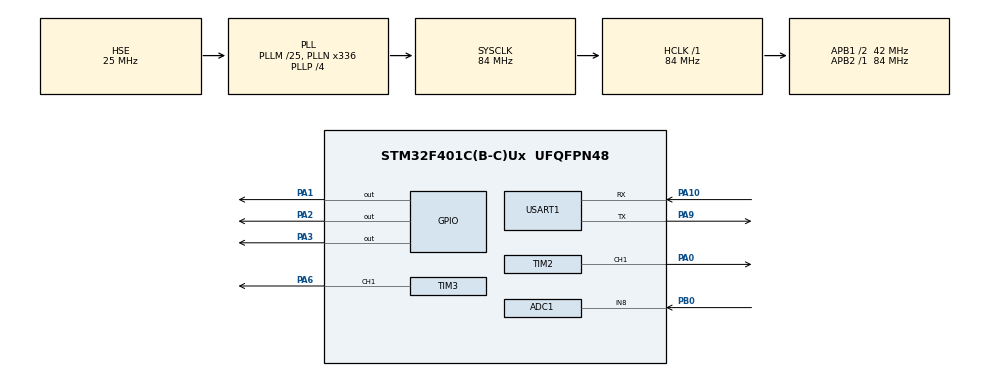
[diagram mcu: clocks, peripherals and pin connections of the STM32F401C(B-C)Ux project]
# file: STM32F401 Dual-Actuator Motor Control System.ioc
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ADC1.Channel-1\#ChannelRegularConversion=ADC_CHANNEL_8
ADC1.InjNumberOfConversion=0
ADC1.NbrOfConversionFlag=1
ADC1.Rank-1\#ChannelRegularConversion=1
ADC1.SamplingTime-1\#ChannelRegularConversion=ADC_SAMPLETIME_84CYCLES
ADC1.master=1
Mcu.Family=STM32F4
Mcu.Name=STM32F401C(B-C)Ux
Mcu.Package=UFQFPN48
NVIC.PriorityGroup=NVIC_PRIORITYGROUP_4
NVIC.USART1_IRQn=true\:0\:0\:false\:false\:true\:true\:true\:true
PA0-WKUP.Signal=S_TIM2_CH1_ETR
PA1.Signal=GPIO_Output
PA10.Mode=Asynchronous
PA10.Signal=USART1_RX
PA2.Signal=GPIO_Output
PA3.Signal=GPIO_Output
PA6.Signal=S_TIM3_CH1
PA9.Mode=Asynchronous
PA9.Signal=USART1_TX
PB0.Signal=ADCx_IN8
PH0\ -\ OSC_IN.Mode=HSE-External-Oscillator
PH0\ -\ OSC_IN.Signal=RCC_OSC_IN
PH1\ -\ OSC_OUT.Mode=HSE-External-Oscillator
PH1\ -\ OSC_OUT.Signal=RCC_OSC_OUT
ProjectManager.HeapSize=0x200
ProjectManager.StackSize=0x400
ProjectManager.TargetToolchain=STM32CubeIDE
RCC.48MHZClocksFreq_Value=84000000
RCC.AHBFreq_Value=84000000
RCC.APB1CLKDivider=RCC_HCLK_DIV2
RCC.APB1Freq_Value=42000000
RCC.APB1TimFreq_Value=84000000
RCC.APB2Freq_Value=84000000
RCC.APB2TimFreq_Value=84000000
RCC.CortexFreq_Value=84000000
RCC.EnbaleCSS=true
RCC.HCLKFreq_Value=84000000
RCC.HSE_VALUE=25000000
RCC.HSI_VALUE=16000000
RCC.LSE_VALUE=32768
RCC.PLLM=25
RCC.PLLN=336
RCC.PLLP=RCC_PLLP_DIV4
RCC.PLLSourceVirtual=RCC_PLLSOURCE_HSE
RCC.SYSCLKFreq_VALUE=84000000
RCC.SYSCLKSource=RCC_SYSCLKSOURCE_PLLCLK
RCC.VCOOutputFreq_Value=336000000
SH.ADCx_IN8.0=ADC1_IN8,IN8
SH.S_TIM2_CH1_ETR.0=TIM2_CH1,PWM Generation1 CH1
SH.S_TIM3_CH1.0=TIM3_CH1,PWM Generation1 CH1
TIM2.AutoReloadPreload=TIM_AUTORELOAD_PRELOAD_ENABLE
TIM2.Channel-PWM\ Generation1\ CH1=TIM_CHANNEL_1
TIM2.ClockDivision=TIM_CLOCKDIVISION_DIV2
TIM2.Period=19999
TIM2.Prescaler=83
TIM2.Pulse-PWM\ Generation1\ CH1=1000
TIM3.AutoReloadPreload=TIM_AUTORELOAD_PRELOAD_ENABLE
TIM3.Channel-PWM\ Generation1\ CH1=TIM_CHANNEL_1
TIM3.ClockDivision=TIM_CLOCKDIVISION_DIV2
TIM3.Period=4199
TIM3.Prescaler=0
TIM3.Pulse-PWM\ Generation1\ CH1=2100
USART1.VirtualMode=VM_ASYNC
VP_TIM2_VS_ClockSourceINT.Mode=Internal
VP_TIM3_VS_ClockSourceINT.Mode=Internal
board=custom

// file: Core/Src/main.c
/* USER CODE BEGIN Header */
/**
  ******************************************************************************
  * @file           : main.c
  * @brief          : Main program body
  ******************************************************************************
  */
/* USER CODE END Header */

#include "main.h"
#include "motor.h"
#include "servo.h"
#include "uart_cmd.h"

/* USER CODE BEGIN PD */

#define MOTOR_BRAKE_TIME_MS    100U

/* USER CODE END PD */

ADC_HandleTypeDef hadc1;

TIM_HandleTypeDef htim2;

TIM_HandleTypeDef htim3;

UART_HandleTypeDef huart1;

/* USER CODE BEGIN PV */

uint32_t adc_value = 0;

uint8_t rx_byte;

MotorState_t motor_state = MOTOR_IDLE;

MotorDirection_t motor_direction = MOTOR_FORWARD;

MotorDirection_t pending_direction = MOTOR_FORWARD;

uint32_t brake_start_time = 0;

/*
 * TRUE  = braking is part of a direction change
 * FALSE = braking was requested as a standalone action
 */
uint8_t direction_change_pending = 0;

/*
 * Shared between UART interrupt and main loop.
 *
 * UART ISR writes the message pointer.
 * Main loop reads and transmits it.
 */
volatile const char *uart_message = NULL;

/* USER CODE END PV */

void SystemClock_Config(void);

static void MX_GPIO_Init(void);
static void MX_ADC1_Init(void);
static void MX_TIM2_Init(void);
static void MX_TIM3_Init(void);
static void MX_USART1_UART_Init(void);

int main(void)
{

  /* MCU Configuration--------------------------------------------------------*/

  HAL_Init();

  /* Configure the system clock */
  SystemClock_Config();

  /* Initialize all configured peripherals */
  MX_GPIO_Init();
  MX_ADC1_Init();
  MX_TIM2_Init();
  MX_TIM3_Init();
  MX_USART1_UART_Init();

  /* USER CODE BEGIN 2 */

  /*--------------------------------------------------------------
   * TIM2 CH1 = SG90 Servo PWM
   *--------------------------------------------------------------*/
  HAL_TIM_PWM_Start(&htim2, TIM_CHANNEL_1);

  /* Start servo at center position */
  Servo_SetPulse(1500);

  /*--------------------------------------------------------------
   * TIM3 CH1 = DC Motor PWM
   *--------------------------------------------------------------*/
  HAL_TIM_PWM_Start(&htim3, TIM_CHANNEL_1);

  /* Start motor PWM at 0% duty cycle */
  __HAL_TIM_SET_COMPARE(
      &htim3,
      TIM_CHANNEL_1,
      0
  );

  /*--------------------------------------------------------------
   * Safe motor startup
   *--------------------------------------------------------------*/
  Motor_Stop();

  /*--------------------------------------------------------------
   * Start UART reception using interrupt
   *--------------------------------------------------------------*/
  HAL_UART_Receive_IT(
      &huart1,
      &rx_byte,
      1
  );

  /* USER CODE END 2 */

  /* Infinite loop */

  /* USER CODE BEGIN WHILE */
  while (1)
  {
      uint32_t ccr_value = 0;

      /*----------------------------------------------------------
       * UART diagnostic message
       *
       * UART interrupt only sets uart_message.
       * The actual blocking transmission happens here,
       * outside the interrupt context.
       *----------------------------------------------------------*/
      if (uart_message != NULL)
      {
          UART_SendString((const char *)uart_message);
          uart_message = NULL;
      }

      /*----------------------------------------------------------
       * Motor state machine
       *----------------------------------------------------------*/
      switch (motor_state)
      {
          /*======================================================
           * IDLE
           *======================================================*/
          case MOTOR_IDLE:

              Motor_Stop();

              __HAL_TIM_SET_COMPARE(
                  &htim3,
                  TIM_CHANNEL_1,
                  0
              );

              break;

          /*======================================================
           * RUNNING
           *======================================================*/
          case MOTOR_RUNNING:

              /*
               * ADC is required only while the motor is running.
               *
               * PB0 -> ADC1_IN8
               *
               * ADC value controls PWM duty cycle.
               */
              if (HAL_ADC_Start(&hadc1) == HAL_OK)
              {
                  if (HAL_ADC_PollForConversion(&hadc1, 10) == HAL_OK)
                  {
                      adc_value = HAL_ADC_GetValue(&hadc1);

                      /*
                       * Convert ADC range:
                       *
                       * 0    -> PWM 0
                       * 4095 -> PWM 4199
                       */
                      ccr_value =
                          ((uint32_t)adc_value * 4199U) / 4095U;

                      /*
                       * Apply motor direction.
                       */
                      if (motor_direction == MOTOR_FORWARD)
                      {
                          Motor_Forward();
                      }
                      else
                      {
                          Motor_Reverse();
                      }

                      /*
                       * Apply motor speed.
                       */
                      __HAL_TIM_SET_COMPARE(
                          &htim3,
                          TIM_CHANNEL_1,
                          ccr_value
                      );
                  }
                  else
                  {
                      /*
                       * ADC conversion failed.
                       *
                       * Fail-safe action:
                       *
                       * 1. Remove PWM
                       * 2. Disable motor driver
                       * 3. Enter FAULT
                       */
                      __HAL_TIM_SET_COMPARE(
                          &htim3,
                          TIM_CHANNEL_1,
                          0
                      );

                      Motor_Stop();

                      motor_state = MOTOR_FAULT;

                      direction_change_pending = 0;

                      UART_SetMessage(
                          "FAULT: ADC conversion failed\r\n"
                      );
                  }
              }
              else
              {
                  /*
                   * ADC could not start.
                   *
                   * Fail-safe action.
                   */
                  __HAL_TIM_SET_COMPARE(
                      &htim3,
                      TIM_CHANNEL_1,
                      0
                  );

                  Motor_Stop();

                  motor_state = MOTOR_FAULT;

                  direction_change_pending = 0;

                  UART_SetMessage(
                      "FAULT: ADC start failed\r\n"
                  );
              }

              break;

          /*======================================================
           * BRAKING
           *======================================================*/
          case MOTOR_BRAKING:

              /*
               * Remove PWM before applying brake.
               */
              __HAL_TIM_SET_COMPARE(
                  &htim3,
                  TIM_CHANNEL_1,
                  0
              );

              Motor_Brake();

              /*
               * Wait for the defined braking interval.
               */
              if ((HAL_GetTick() - brake_start_time)
                      >= MOTOR_BRAKE_TIME_MS)
              {
                  if (direction_change_pending)
                  {
                      /*
                       * Braking was requested because the
                       * direction needs to change.
                       */
                      motor_direction = pending_direction;

                      direction_change_pending = 0;

                      motor_state = MOTOR_RUNNING;
                  }
                  else
                  {
                      /*
                       * Standalone brake command.
                       *
                       * Do NOT restart the motor.
                       */
                      motor_state = MOTOR_IDLE;
                  }
              }

              break;

          /*======================================================
           * FAULT
           *======================================================*/
          case MOTOR_FAULT:

              /*
               * Keep motor disabled while fault is active.
               */
              Motor_Stop();

              __HAL_TIM_SET_COMPARE(
                  &htim3,
                  TIM_CHANNEL_1,
                  0
              );

              break;

          /*======================================================
           * Unexpected state
           *======================================================*/
          default:

              /*
               * Unknown state.
               *
               * Enter fail-safe condition.
               */
              Motor_Stop();

              __HAL_TIM_SET_COMPARE(
                  &htim3,
                  TIM_CHANNEL_1,
                  0
              );

              motor_state = MOTOR_FAULT;

              direction_change_pending = 0;

              UART_SetMessage(
                  "FAULT: Invalid motor state\r\n"
              );

              break;
      }

      /*
       * Main loop period.
       *
       * This also allows the 100 ms braking interval
       * to be checked periodically.
       */
      HAL_Delay(20);

  }
  /* USER END WHILE */

}

void SystemClock_Config(void)
{
  RCC_OscInitTypeDef RCC_OscInitStruct = {0};
  RCC_ClkInitTypeDef RCC_ClkInitStruct = {0};

  /** Configure the main internal regulator output voltage
  */
  __HAL_RCC_PWR_CLK_ENABLE();

  __HAL_PWR_VOLTAGESCALING_CONFIG(
      PWR_REGULATOR_VOLTAGE_SCALE2
  );

  /** Initializes the RCC Oscillators
  */
  RCC_OscInitStruct.OscillatorType =
      RCC_OSCILLATORTYPE_HSE;

  RCC_OscInitStruct.HSEState =
      RCC_HSE_ON;

  RCC_OscInitStruct.PLL.PLLState =
      RCC_PLL_ON;

  RCC_OscInitStruct.PLL.PLLSource =
      RCC_PLLSOURCE_HSE;

  RCC_OscInitStruct.PLL.PLLM = 25;
  RCC_OscInitStruct.PLL.PLLN = 336;
  RCC_OscInitStruct.PLL.PLLP = RCC_PLLP_DIV4;
  RCC_OscInitStruct.PLL.PLLQ = 4;

  if (HAL_RCC_OscConfig(&RCC_OscInitStruct) != HAL_OK)
  {
    Error_Handler();
  }

  /** Initializes the CPU, AHB and APB buses clocks
  */
  RCC_ClkInitStruct.ClockType =
      RCC_CLOCKTYPE_HCLK |
      RCC_CLOCKTYPE_SYSCLK |
      RCC_CLOCKTYPE_PCLK1 |
      RCC_CLOCKTYPE_PCLK2;

  RCC_ClkInitStruct.SYSCLKSource =
      RCC_SYSCLKSOURCE_PLLCLK;

  RCC_ClkInitStruct.AHBCLKDivider =
      RCC_SYSCLK_DIV1;

  RCC_ClkInitStruct.APB1CLKDivider =
      RCC_HCLK_DIV2;

  RCC_ClkInitStruct.APB2CLKDivider =
      RCC_HCLK_DIV1;

  if (HAL_RCC_ClockConfig(
          &RCC_ClkInitStruct,
          FLASH_LATENCY_2) != HAL_OK)
  {
    Error_Handler();
  }

  /** Enables the Clock Security System
  */
  HAL_RCC_EnableCSS();
}

static void MX_ADC1_Init(void)
{
  ADC_ChannelConfTypeDef sConfig = {0};

  /** Configure the global features of the ADC
  */
  hadc1.Instance = ADC1;

  hadc1.Init.ClockPrescaler =
      ADC_CLOCK_SYNC_PCLK_DIV4;

  hadc1.Init.Resolution =
      ADC_RESOLUTION_12B;

  hadc1.Init.ScanConvMode =
      DISABLE;

  hadc1.Init.ContinuousConvMode =
      DISABLE;

  hadc1.Init.DiscontinuousConvMode =
      DISABLE;

  hadc1.Init.ExternalTrigConvEdge =
      ADC_EXTERNALTRIGCONVEDGE_NONE;

  hadc1.Init.ExternalTrigConv =
      ADC_SOFTWARE_START;

  hadc1.Init.DataAlign =
      ADC_DATAALIGN_RIGHT;

  hadc1.Init.NbrOfConversion =
      1;

  hadc1.Init.DMAContinuousRequests =
      DISABLE;

  hadc1.Init.EOCSelection =
      ADC_EOC_SINGLE_CONV;

  if (HAL_ADC_Init(&hadc1) != HAL_OK)
  {
    Error_Handler();
  }

  /** Configure ADC channel
  */
  sConfig.Channel =
      ADC_CHANNEL_8;

  sConfig.Rank =
      1;

  sConfig.SamplingTime =
      ADC_SAMPLETIME_84CYCLES;

  if (HAL_ADC_ConfigChannel(
          &hadc1,
          &sConfig) != HAL_OK)
  {
    Error_Handler();
  }
}

static void MX_TIM2_Init(void)
{
  TIM_ClockConfigTypeDef sClockSourceConfig = {0};
  TIM_MasterConfigTypeDef sMasterConfig = {0};
  TIM_OC_InitTypeDef sConfigOC = {0};

  htim2.Instance = TIM2;

  /*
   * TIM2 clock = 84 MHz
   *
   * 84 MHz / (83 + 1) = 1 MHz
   *
   * 1 timer count = 1 us
   */
  htim2.Init.Prescaler = 83;

  htim2.Init.CounterMode =
      TIM_COUNTERMODE_UP;

  htim2.Init.Period =
      19999;

  htim2.Init.ClockDivision =
      TIM_CLOCKDIVISION_DIV2;

  htim2.Init.AutoReloadPreload =
      TIM_AUTORELOAD_PRELOAD_ENABLE;

  if (HAL_TIM_Base_Init(&htim2) != HAL_OK)
  {
    Error_Handler();
  }

  sClockSourceConfig.ClockSource =
      TIM_CLOCKSOURCE_INTERNAL;

  if (HAL_TIM_ConfigClockSource(
          &htim2,
          &sClockSourceConfig) != HAL_OK)
  {
    Error_Handler();
  }

  if (HAL_TIM_PWM_Init(&htim2) != HAL_OK)
  {
    Error_Handler();
  }

  sMasterConfig.MasterOutputTrigger =
      TIM_TRGO_RESET;

  sMasterConfig.MasterSlaveMode =
      TIM_MASTERSLAVEMODE_DISABLE;

  if (HAL_TIMEx_MasterConfigSynchronization(
          &htim2,
          &sMasterConfig) != HAL_OK)
  {
    Error_Handler();
  }

  sConfigOC.OCMode =
      TIM_OCMODE_PWM1;

  /* Initial servo pulse = 1 ms */
  sConfigOC.Pulse =
      1000;

  sConfigOC.OCPolarity =
      TIM_OCPOLARITY_HIGH;

  sConfigOC.OCFastMode =
      TIM_OCFAST_DISABLE;

  if (HAL_TIM_PWM_ConfigChannel(
          &htim2,
          &sConfigOC,
          TIM_CHANNEL_1) != HAL_OK)
  {
    Error_Handler();
  }

  HAL_TIM_MspPostInit(&htim2);
}

static void MX_TIM3_Init(void)
{
  TIM_ClockConfigTypeDef sClockSourceConfig = {0};
  TIM_MasterConfigTypeDef sMasterConfig = {0};
  TIM_OC_InitTypeDef sConfigOC = {0};

  htim3.Instance = TIM3;

  /*
   * TIM3 clock = 84 MHz
   *
   * Prescaler = 0
   * ARR = 4199
   *
   * PWM frequency:
   *
   * 84 MHz / 4200 = 20 kHz
   */
  htim3.Init.Prescaler =
      0;

  htim3.Init.CounterMode =
      TIM_COUNTERMODE_UP;

  htim3.Init.Period =
      4199;

  htim3.Init.ClockDivision =
      TIM_CLOCKDIVISION_DIV2;

  htim3.Init.AutoReloadPreload =
      TIM_AUTORELOAD_PRELOAD_ENABLE;

  if (HAL_TIM_Base_Init(&htim3) != HAL_OK)
  {
    Error_Handler();
  }

  sClockSourceConfig.ClockSource =
      TIM_CLOCKSOURCE_INTERNAL;

  if (HAL_TIM_ConfigClockSource(
          &htim3,
          &sClockSourceConfig) != HAL_OK)
  {
    Error_Handler();
  }

  if (HAL_TIM_PWM_Init(&htim3) != HAL_OK)
  {
    Error_Handler();
  }

  sMasterConfig.MasterOutputTrigger =
      TIM_TRGO_RESET;

  sMasterConfig.MasterSlaveMode =
      TIM_MASTERSLAVEMODE_DISABLE;

  if (HAL_TIMEx_MasterConfigSynchronization(
          &htim3,
          &sMasterConfig) != HAL_OK)
  {
    Error_Handler();
  }

  sConfigOC.OCMode =
      TIM_OCMODE_PWM1;

  /* Start motor PWM at 0% duty */
  sConfigOC.Pulse =
      0;

  sConfigOC.OCPolarity =
      TIM_OCPOLARITY_HIGH;

  sConfigOC.OCFastMode =
      TIM_OCFAST_DISABLE;

  if (HAL_TIM_PWM_ConfigChannel(
          &htim3,
          &sConfigOC,
          TIM_CHANNEL_1) != HAL_OK)
  {
    Error_Handler();
  }

  HAL_TIM_MspPostInit(&htim3);
}

static void MX_USART1_UART_Init(void)
{
  huart1.Instance =
      USART1;

  huart1.Init.BaudRate =
      115200;

  huart1.Init.WordLength =
      UART_WORDLENGTH_8B;

  huart1.Init.StopBits =
      UART_STOPBITS_1;

  huart1.Init.Parity =
      UART_PARITY_NONE;

  huart1.Init.Mode =
      UART_MODE_TX_RX;

  huart1.Init.HwFlowCtl =
      UART_HWCONTROL_NONE;

  huart1.Init.OverSampling =
      UART_OVERSAMPLING_16;

  if (HAL_UART_Init(&huart1) != HAL_OK)
  {
    Error_Handler();
  }
}

static void MX_GPIO_Init(void)
{
  GPIO_InitTypeDef GPIO_InitStruct = {0};

  __HAL_RCC_GPIOH_CLK_ENABLE();
  __HAL_RCC_GPIOA_CLK_ENABLE();
  __HAL_RCC_GPIOB_CLK_ENABLE();

  /* Configure GPIO pin Output Level */
  HAL_GPIO_WritePin(
      GPIOA,
      GPIO_PIN_1 |
      GPIO_PIN_2 |
      GPIO_PIN_3,
      GPIO_PIN_RESET
  );

  /* Configure GPIO pins: PA1 PA2 PA3 */
  GPIO_InitStruct.Pin =
      GPIO_PIN_1 |
      GPIO_PIN_2 |
      GPIO_PIN_3;

  GPIO_InitStruct.Mode =
      GPIO_MODE_OUTPUT_PP;

  GPIO_InitStruct.Pull =
      GPIO_NOPULL;

  GPIO_InitStruct.Speed =
      GPIO_SPEED_FREQ_LOW;

  HAL_GPIO_Init(
      GPIOA,
      &GPIO_InitStruct
  );
}

void Error_Handler(void)
{
  __disable_irq();
  while (1)
  {
  }
}

#ifdef USE_FULL_ASSERT

void assert_failed(uint8_t *file, uint32_t line)
{
  /* USER CODE BEGIN 6 */

  /* User can add implementation here */

  /* USER CODE END 6 */
}

#endif /* USE_FULL_ASSERT */
